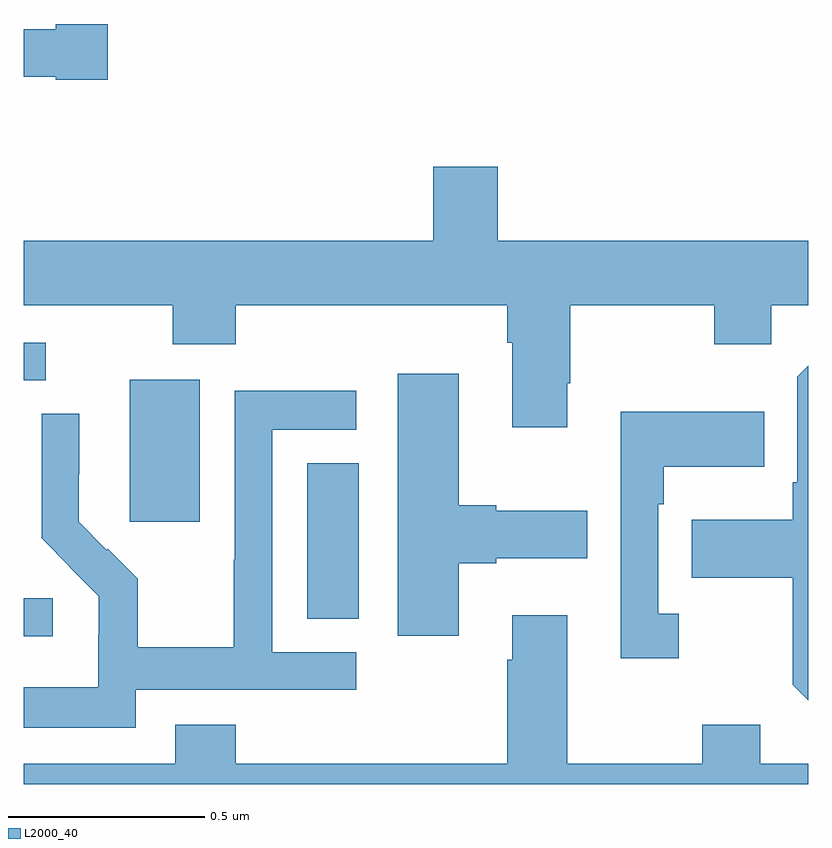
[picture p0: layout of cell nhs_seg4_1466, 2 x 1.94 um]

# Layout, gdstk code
import gdstk
lib = gdstk.Library(unit=1e-6, precision=1e-09)
def R(c, l, rs):  # rectangles x0, y0, x1, y1
    for r in rs: c.add(gdstk.rectangle(r[:2], r[2:], *l))
def P(c, l, *ps):  # polygons
    for p in ps: c.add(gdstk.Polygon(p, *l))
L2000_40 = (2000, 40)

nhs_seg4_1466 = lib.new_cell('nhs_seg4_1466')
R(nhs_seg4_1466, L2000_40, [(128,829.277,128.074,829.374), (128.723,829.321,128.854,829.718), (128.27,829.569,128.449,829.93), (128,829.929,128.056,830.025)])
P(nhs_seg4_1466, L2000_40, [(128.215,830.837),(128.082,830.837),(128.082,830.824),(128,830.824),(128,830.702),(128.082,830.702),(128.082,830.695),(128.215,830.695)],
  [(129.385,829.921),(129.393,829.921),(129.393,830.12),(129.76,830.12),(129.76,830.021),(129.906,830.021),(129.906,830.12),(130,830.12),(130,830.284),(129.208,830.284),(129.208,830.473),(129.044,830.473),(129.044,830.284),(128,830.284),(128,830.12),(128.38,830.12),(128.38,830.021),(128.54,830.021),(128.54,830.12),(129.233,830.12),(129.233,830.024),(129.245,830.024),(129.245,829.809),(129.385,829.809)],
  [(130,829.966),(129.972,829.938),(129.972,829.669),(129.96,829.669),(129.96,829.573),(129.703,829.573),(129.703,829.426),(129.96,829.426),(129.96,829.153),(130,829.113)],
  [(129.109,829.463),(129.205,829.463),(129.205,829.475),(129.436,829.475),(129.436,829.597),(129.205,829.597),(129.205,829.61),(129.109,829.61),(129.109,829.945),(128.954,829.945),(128.954,829.278),(129.109,829.278)],
  [(128.286,829.14),(128.848,829.14),(128.848,829.236),(128.634,829.236),(128.634,829.803),(128.848,829.803),(128.848,829.902),(128.538,829.902),(128.538,829.472),(128.536,829.472),(128.536,829.249),(128.291,829.249),(128.291,829.423),(128.214,829.5),(128.211,829.497),(128.141,829.568),(128.141,829.69),(128.142,829.69),(128.142,829.844),(128.046,829.844),(128.046,829.526),(128.119,829.453),(128.118,829.452),(128.192,829.378),(128.192,829.281),(128.19,829.281),(128.19,829.147),(128,829.147),(128,829.043),(128.286,829.043)],
  [(129.67,829.334),(129.618,829.334),(129.618,829.613),(129.631,829.613),(129.631,829.709),(129.887,829.709),(129.887,829.849),(129.522,829.849),(129.522,829.221),(129.67,829.221)],
  [(130,828.952),(129.877,828.952),(129.877,829.051),(129.73,829.051),(129.73,828.952),(129.385,828.952),(129.385,829.33),(129.245,829.33),(129.245,829.217),(129.233,829.217),(129.233,828.952),(128.54,828.952),(128.54,829.051),(128.387,829.051),(128.387,828.952),(128,828.952),(128,828.9),(130,828.9)])

lib.write_gds('nhs_seg4_1466.gds')
